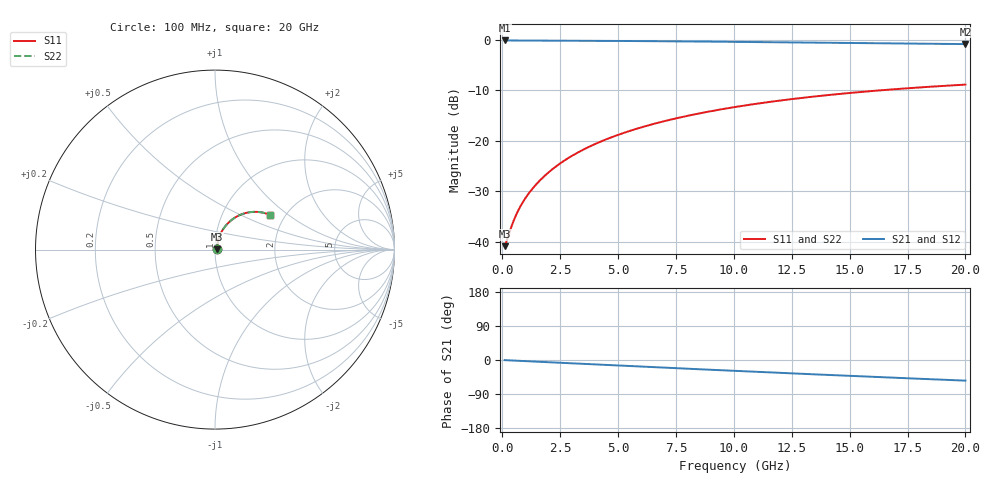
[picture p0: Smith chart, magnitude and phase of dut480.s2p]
! Touchstone file exported from HFSS 2026.1.0
!  File:  C:/ffzhzh/LocalFiles/Ansys_Project_Files/temp_train_TMRDL_480_1783006354_55676.aedt
!  Generated:  11:34:03 PM Jul  2, 2026
!  Design:  TMRDL
!  Project:  temp_train_TMRDL_480_1783006354_55676
! Variables:
!  h_bsmrdl = 2um
!  h_ox = 20um
!  h_rdl = 5um
!  h_sub = 80um
!  h_tmrdl = 2.32um
!  h_tsv = 80um
!  h_via = 3um
!  l_bsmrdl = 300um
!  l_sub = 1303.36um
!  l_tmrdl = 903.36um
!  m_sub = 200um
!  pitch = 27.99um
!  r_tsv = 6um
!  s_tmrdl = 10um
!  w_bsmrdl = 18um
!  w_sub = 500um
!  w_tmrdl = 16.22um
!  x_tsv_center1 = 911.47um
!  x_tsv_center2 = 1229.47um
!  x_tsv_center3 = 2149.05um
!  x_tsv_center4 = 2467.05um
!  x_tsv_center5 = 3386.63um
!  x_tsv_center6 = 3704.63um
# GHz S MA R 50.000000
! Terminal data exported
! Port[1] = TM_RDL1_1_T1
! Port[2] = TM_RDL1_1_T2
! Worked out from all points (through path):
!   200 points, 100 MHz to 20 GHz, reference 50 ohm
!   highest |S21| = -0.07 dB at 100 MHz (marker M1); lowest = -0.8 dB at 20 GHz (marker M2)
!   group delay of S21, straight-line fit = 7.56 ps
!   lowest |S11| = -40.9 dB at 100 MHz (marker M3), VSWR 1.02, Z = 50.9 + j0.278 ohm
!   |S11| at or under -10 dB: start of sweep to 16.26 GHz
!   |S22| runs from -40.9 to -8.8 dB; largest |S21 - S12| = 1.4e-14
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0.1  0.008997 17.7  0.9914 -0.3  0.9914 -0.3  0.008997 17.7
! Gamma 0 0 0 0
! Port Impedance 50 0 50 0
0.2  0.01033 31.6  0.9913 -0.6  0.9913 -0.6  0.01033 31.6
0.4  0.01418 47.8  0.9907 -1.2  0.9907 -1.2  0.01418 47.8
0.5  0.0163 52.4  0.9903 -1.6  0.9903 -1.6  0.0163 52.4
0.7  0.02059 58.3  0.9897 -2.1  0.9897 -2.1  0.02059 58.3
1  0.027 63.5  0.989 -3.0  0.989 -3.0  0.027 63.5
1.3  0.03342 66.6  0.9884 -3.9  0.9884 -3.9  0.03342 66.6
1.5  0.03774 68.0  0.988 -4.5  0.988 -4.5  0.03774 68.0
1.8  0.04426 69.5  0.9875 -5.3  0.9875 -5.3  0.04426 69.5
2.3  0.05524 70.8  0.9867 -6.8  0.9867 -6.8  0.05524 70.8
2.9  0.0685 71.3  0.9856 -8.5  0.9856 -8.5  0.0685 71.3
3.5  0.08176 71.1  0.9843 -10.2  0.9843 -10.2  0.08176 71.1
4.2  0.09715 70.3  0.9826 -12.2  0.9826 -12.2  0.09715 70.3
5  0.1146 68.9  0.9804 -14.5  0.9804 -14.5  0.1146 68.9
5.9  0.1338 67.1  0.9775 -17.1  0.9775 -17.1  0.1338 67.1
6.8  0.1527 65.1  0.9743 -19.6  0.9743 -19.6  0.1526 65.1
8.3  0.183 61.5  0.9683 -23.8  0.9683 -23.8  0.183 61.6
10.1  0.2174 57.1  0.9602 -28.8  0.9602 -28.8  0.2174 57.1
11.7  0.246 53.0  0.9525 -33.1  0.9525 -33.1  0.2459 53.0
13.4  0.2741 48.7  0.944 -37.6  0.944 -37.6  0.2741 48.8
16.7  0.3221 40.5  0.9275 -46.2  0.9275 -46.2  0.322 40.6
20  0.3612 32.5  0.9122 -54.4  0.9122 -54.4  0.3612 32.6
